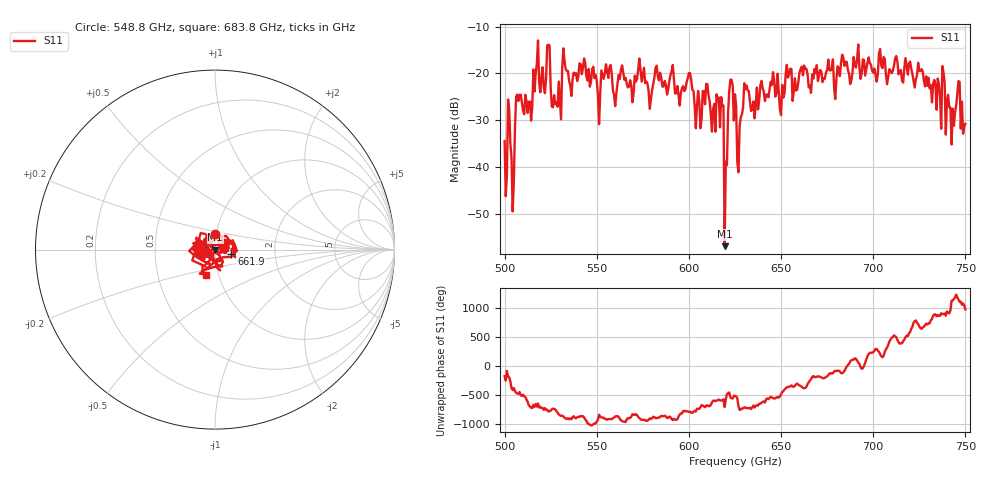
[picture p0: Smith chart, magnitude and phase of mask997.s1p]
!Created with skrf (http://scikit-rf.org).
# GHz S MA R 50.0
!freq magS11 angS11
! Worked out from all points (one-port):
!   401 points, 500 GHz to 750 GHz, reference 50 ohm
!   lowest |S11| = -56.8 dB at 619.4 GHz (marker M1), VSWR 1.00, Z = 50.1 + j0.0368 ohm
!   |S11| at or under -10 dB: start of sweep to end of sweep
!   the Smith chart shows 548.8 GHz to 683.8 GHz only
!   S11 on the Smith chart (normalised r, x): 548.8 GHz: 0.99, +0.18; 661.9 GHz: 1.20, -0.06; 683.8 GHz: 0.87, -0.25
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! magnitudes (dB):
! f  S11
! 500 GHz  -34.4
! 502.5 GHz  -27.8
! 504.4 GHz  -49.4
! 507.5 GHz  -25.9
! 513.8 GHz  -26.0
! 516.9 GHz  -19.9
! 523.8 GHz  -13.9
! 526.9 GHz  -24.6
! 531.2 GHz  -18.9
! 548.8 GHz  -21.0
! 562.5 GHz  -21.2
! 593.8 GHz  -22.7
! 616.2 GHz  -25.1
! 619.4 GHz  -56.8
! 620.6 GHz  -39.5
! 622.5 GHz  -21.3
! 625 GHz  -24.4
! 627.5 GHz  -31.3
! 631.2 GHz  -22.5
! 635 GHz  -26.0
! 656.2 GHz  -25.8
! 661.9 GHz  -20.4
! 683.8 GHz  -16.5
! 687.5 GHz  -22.2
! 718.8 GHz  -20.2
! 743.1 GHz  -27.5
! 746.9 GHz  -21.8
! 750 GHz  -30.7
